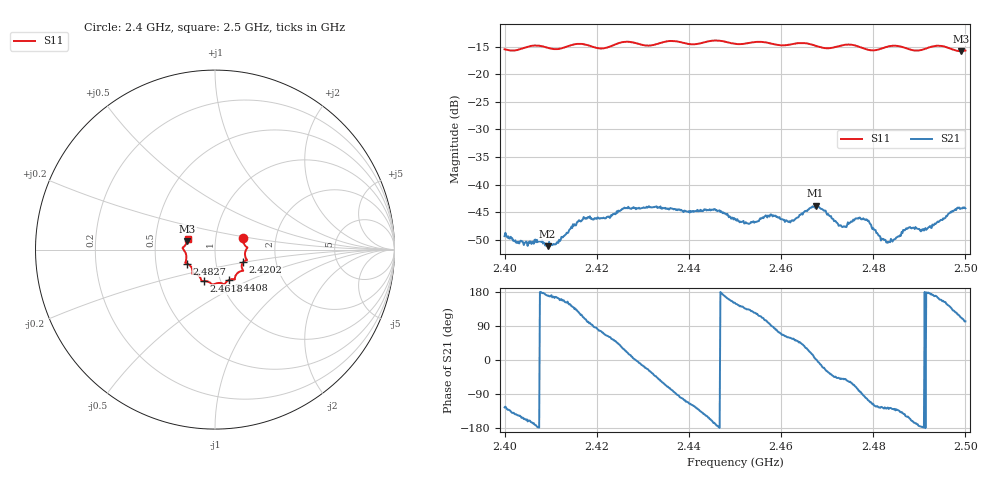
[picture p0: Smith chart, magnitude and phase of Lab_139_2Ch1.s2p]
# Hz S RI R 50
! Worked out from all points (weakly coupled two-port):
!   601 points, 2.4 GHz to 2.5 GHz, reference 50 ohm
!   highest |S21| = -43.83 dB at 2.4675 GHz (marker M1); lowest = -51.1 dB at 2.4093 GHz (marker M2)
!   lowest |S11| = -15.8 dB at 2.499 GHz (marker M3), VSWR 1.38, Z = 36.5 + j3.52 ohm
!   |S11| at or under -10 dB: start of sweep to end of sweep
!   S12 and S22 are empty: the file has one direction only
!   S11 on the Smith chart (normalised r, x): 2.4 GHz: 1.36, +0.17; 2.4202 GHz: 1.36, -0.20; 2.4408 GHz: 1.10, -0.38; 2.4618 GHz: 0.84, -0.30; 2.4827 GHz: 0.72, -0.12; 2.5 GHz: 0.73, +0.09
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2.4e9  0.1559 0.0621  -0.00196 -0.0028  0 0  0 0
2.409333e9  0.1733 -0.000112  -0.00273 0.000499  0 0  0 0
2.4115e9  0.1668 -0.0236  -0.00288 0.000855  0 0  0 0
2.416667e9  0.1781 -0.0594  -0.00231 0.00408  0 0  0 0
2.420167e9  0.1568 -0.0705  0.000767 0.00499  0 0  0 0
2.426333e9  0.1574 -0.1174  0.00564 0.00248  0 0  0 0
2.433333e9  0.1119 -0.1519  0.00405 -0.0047  0 0  0 0
2.440833e9  0.0789 -0.1687  -0.00282 -0.00504  0 0  0 0
2.4455e9  0.0525 -0.1945  -0.00583 -0.0015  0 0  0 0
2.45e9  0.0279 -0.1858  -0.00422 0.00237  0 0  0 0
2.453e9  -0.00122 -0.1912  -0.00303 0.00322  0 0  0 0
2.458167e9  -0.0252 -0.1861  0.000173 0.00516  0 0  0 0
2.461833e9  -0.06 -0.1751  0.00243 0.00399  0 0  0 0
2.466667e9  -0.0769 -0.1686  0.00598 0.00167  0 0  0 0
2.4675e9  -0.0788 -0.1624  0.00643 0.000252  0 0  0 0
2.473e9  -0.121 -0.1349  0.00282 -0.00321  0 0  0 0
2.4785e9  -0.127 -0.1096  -0.000938 -0.00476  0 0  0 0
2.482667e9  -0.1571 -0.0777  -0.00191 -0.0025  0 0  0 0
2.483333e9  -0.1613 -0.0762  -0.00192 -0.00235  0 0  0 0
2.492167e9  -0.1748 -0.000375  -0.00414 0.00031  0 0  0 0
2.499e9  -0.1544 0.047  -0.0023 0.00562  0 0  0 0
2.5e9  -0.1517 0.0614  -0.00125 0.00597  0 0  0 0
